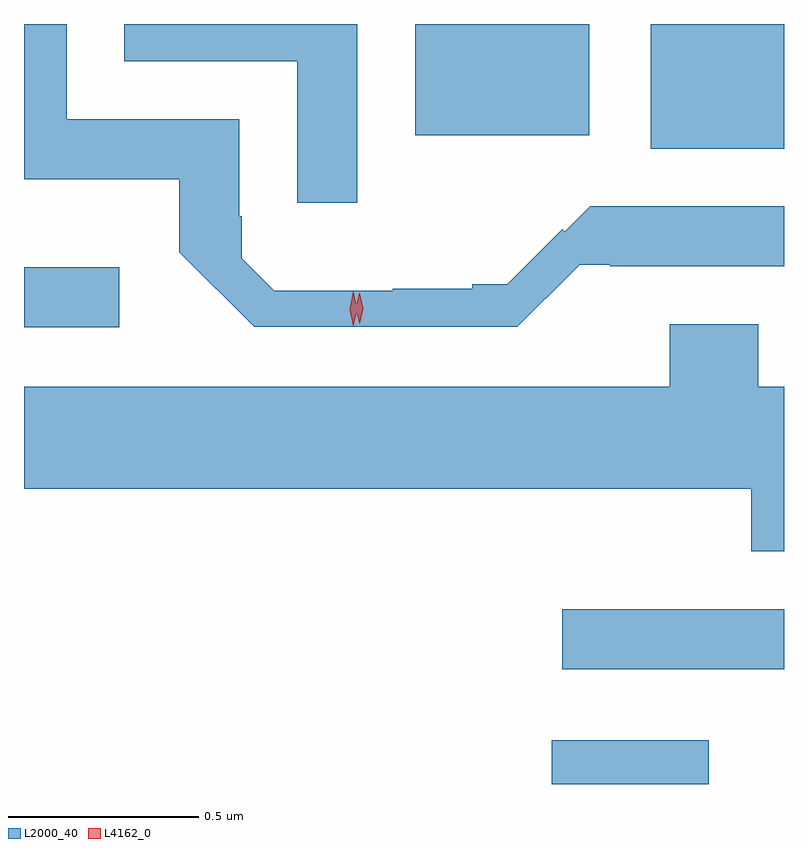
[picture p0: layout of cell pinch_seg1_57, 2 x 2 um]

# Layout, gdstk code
import gdstk
lib = gdstk.Library(unit=1e-6, precision=1e-09)
def R(c, l, rs):  # rectangles x0, y0, x1, y1
    for r in rs: c.add(gdstk.rectangle(r[:2], r[2:], *l))
def P(c, l, *ps):  # polygons
    for p in ps: c.add(gdstk.Polygon(p, *l))
L2000_40 = (2000, 40)
L4162_0 = (4162, 0)

pinch_seg1_57 = lib.new_cell('pinch_seg1_57')
R(pinch_seg1_57, L2000_40, [(1386.706,901.019,1387.119,901.134), (1386.733,901.321,1387.317,901.479), (1385.317,902.221,1385.568,902.379), (1386.966,902.691,1387.317,903.019), (1386.346,902.726,1386.804,903.019)])
P(pinch_seg1_57, L2000_40, [(1386.689,902.296),(1386.69,902.296),(1386.779,902.385),(1386.86,902.385),(1386.86,902.381),(1387.317,902.381),(1387.317,902.539),(1386.807,902.539),(1386.74,902.472),(1386.733,902.479),(1386.589,902.334),(1386.497,902.334),(1386.497,902.322),(1386.288,902.322),(1386.288,902.317),(1385.976,902.317),(1385.89,902.403),(1385.89,902.513),(1385.884,902.513),(1385.884,902.769),(1385.429,902.769),(1385.429,903.019),(1385.317,903.019),(1385.317,902.611),(1385.726,902.611),(1385.726,902.419),(1385.923,902.222),(1386.615,902.222)],
  [(1386.194,903.019),(1385.581,903.019),(1385.581,902.921),(1386.036,902.921),(1386.036,902.548),(1386.194,902.548)],
  [(1387.317,902.064),(1387.249,902.064),(1387.249,902.229),(1387.016,902.229),(1387.016,902.064),(1385.317,902.064),(1385.317,901.796),(1387.231,901.796),(1387.231,901.631),(1387.317,901.631)])
P(pinch_seg1_57, L4162_0, [(1386.2,902.23),(1386.2,902.23),(1386.19,902.27),(1386.199,902.311),(1386.2,902.311),(1386.2,902.311),(1386.21,902.27),(1386.201,902.23)],
  [(1386.184,902.222),(1386.183,902.223),(1386.174,902.269),(1386.184,902.316),(1386.184,902.317),(1386.184,902.316),(1386.194,902.269),(1386.184,902.223)])

lib.write_gds('pinch_seg1_57.gds')
